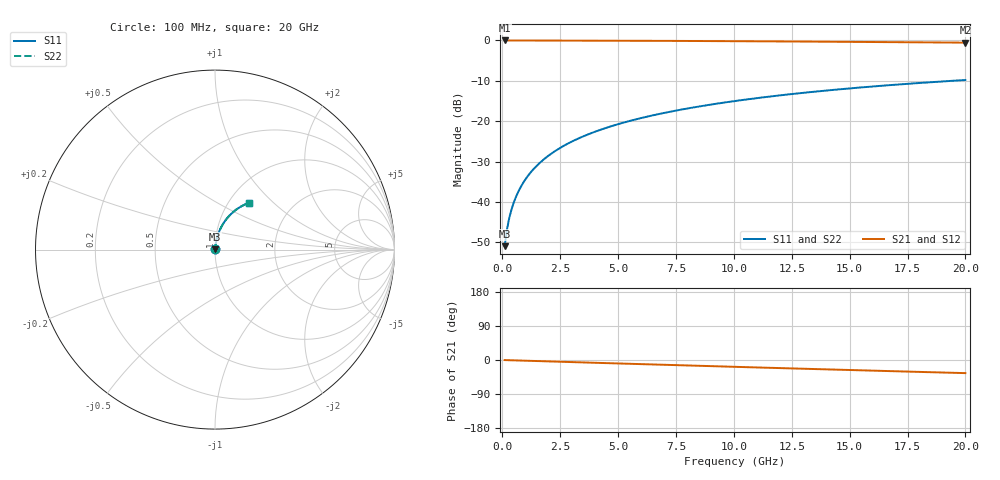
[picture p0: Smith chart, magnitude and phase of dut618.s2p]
! Touchstone file exported from HFSS 2026.1.0
!  File:  C:/ffzhzh/LocalFiles/Ansys_Project_Files/temp_train_BSMRDL_618_1783016362_53980.aedt
!  Generated:  02:20:44 AM Jul  3, 2026
!  Design:  BSMRDL
!  Project:  temp_train_BSMRDL_618_1783016362_53980
! Variables:
!  h_bsmrdl = 4.14um
!  h_ox = 20um
!  h_rdl = 5um
!  h_sub = 80um
!  h_tmrdl = 5um
!  h_tsv = 80um
!  h_via = 3um
!  l_bsmrdl = 488.01um
!  l_sub = 888.01um
!  l_tmrdl = 200um
!  m_sub = 200um
!  pitch = 51.73um
!  r_tsv = 6um
!  s_tmrdl = 10um
!  w_bsmrdl = 23.54um
!  w_sub = 500um
!  w_tmrdl = 12um
!  x_tsv_center1 = 206um
!  x_tsv_center2 = 717.55um
!  x_tsv_center3 = 929.55um
!  x_tsv_center4 = 1441.1um
!  x_tsv_center5 = 1653.1um
!  x_tsv_center6 = 2164.65um
# GHz S MA R 50.000000
! Terminal data exported
! Port[1] = BSM_RDL1_1_T1
! Port[2] = BSM_RDL1_1_T2
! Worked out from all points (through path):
!   200 points, 100 MHz to 20 GHz, reference 50 ohm
!   highest |S21| = -0.02 dB at 100 MHz (marker M1); lowest = -0.6 dB at 20 GHz (marker M2)
!   group delay of S21, straight-line fit = 4.81 ps
!   lowest |S11| = -50.9 dB at 100 MHz (marker M3), VSWR 1.01, Z = 50.2 + j0.204 ohm
!   |S11| at or under -10 dB: start of sweep to 19.46 GHz
!   |S22| runs from -50.9 to -9.8 dB; largest |S21 - S12| = 4.3e-15
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0.1  0.002835 45.9  0.998 -0.2  0.998 -0.2  0.002835 45.9
! Gamma 0 0 0 0
! Port Impedance 50 0 50 0
0.2  0.004524 62.2  0.9979 -0.4  0.9979 -0.4  0.004523 62.2
0.3  0.006315 69.1  0.9978 -0.6  0.9978 -0.6  0.006314 69.1
0.4  0.008117 72.8  0.9977 -0.8  0.9977 -0.8  0.008116 72.8
0.5  0.009924 75.3  0.9976 -0.9  0.9976 -0.9  0.009922 75.3
0.6  0.01174 77.0  0.9975 -1.1  0.9975 -1.1  0.01174 77.0
0.8  0.01539 79.2  0.9974 -1.5  0.9974 -1.5  0.01538 79.2
1.1  0.0209 80.8  0.9972 -2.0  0.9972 -2.0  0.0209 80.9
1.5  0.02828 81.7  0.9969 -2.8  0.9969 -2.8  0.02828 81.7
1.8  0.03382 81.9  0.9967 -3.3  0.9967 -3.3  0.03382 81.9
2.1  0.03935 81.9  0.9964 -3.9  0.9964 -3.9  0.03935 81.9
2.7  0.05037 81.4  0.9956 -5.0  0.9956 -5.0  0.05037 81.4
3.5  0.06494 80.4  0.9944 -6.4  0.9944 -6.4  0.06494 80.5
4.2  0.07756 79.4  0.9931 -7.7  0.9931 -7.7  0.07756 79.4
5  0.09182 78.2  0.9915 -9.1  0.9915 -9.1  0.09181 78.2
5.9  0.1076 76.7  0.9894 -10.7  0.9894 -10.7  0.1076 76.7
6.8  0.1232 75.2  0.9872 -12.3  0.9872 -12.3  0.1232 75.3
8.3  0.1487 72.7  0.983 -15.0  0.983 -15.0  0.1487 72.8
10.1  0.1785 69.8  0.9775 -18.1  0.9775 -18.1  0.1785 69.8
13.4  0.2305 64.4  0.9657 -23.8  0.9657 -23.8  0.2305 64.4
16.7  0.2789 59.0  0.9523 -29.3  0.9523 -29.3  0.2788 59.1
20  0.3232 53.8  0.9378 -34.6  0.9378 -34.6  0.3232 53.9
